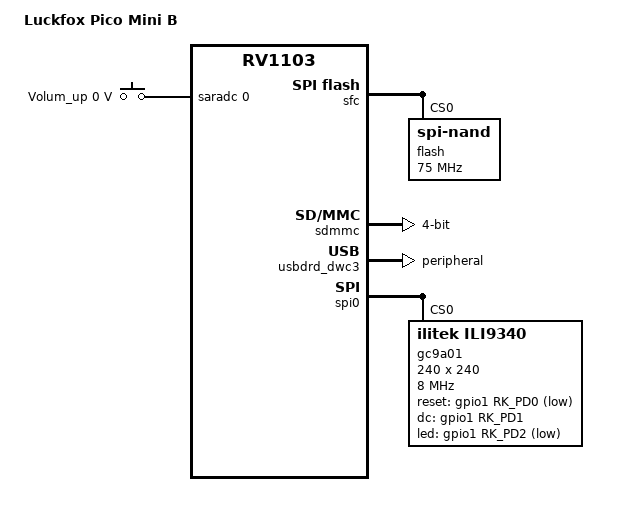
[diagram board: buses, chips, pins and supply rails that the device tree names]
// SPDX-License-Identifier: (GPL-2.0+ OR MIT)
/*
 * Copyright (c) 2023 Luckfox Electronics Co., Ltd.
 */

/dts-v1/;

#include "rv1103.dtsi"
#include "rv1106-evb.dtsi"
#include "rv1103-luckfox-pico-ipc.dtsi"

/ {
	model = "Luckfox Pico Mini B";
	compatible = "rockchip,rv1103g-38x38-ipc-v10", "rockchip,rv1103";

	adc-keys {
		compatible = "adc-keys";
		io-channels = <&saradc 0>;
		io-channel-names = "buttons";
		poll-interval = <100>;
		keyup-threshold-microvolt = <1800000>;

		recovery {
			label = "Volum_up";
			linux,code = <KEY_VOLUMEUP>;
			press-threshold-microvolt = <0>;
		};
	};
};

/**********SFC**********/
&sfc {
	status = "okay";
	flash@0 {
		compatible = "spi-nand";
		reg = <0>;
		spi-max-frequency = <75000000>;
		spi-rx-bus-width = <4>;
		spi-tx-bus-width = <1>;
	};
};

/**********SDMMC**********/
&sdmmc {
	max-frequency = <50000000>;
	no-sdio;
	no-mmc;
	bus-width = <4>;
	cap-mmc-highspeed;
	cap-sd-highspeed;
	disable-wp;
	pinctrl-names = "default";
	pinctrl-0 = <&sdmmc0_clk &sdmmc0_cmd &sdmmc0_det &sdmmc0_bus4>;
	status = "okay";
};

/**********ETH**********/
&gmac {
	status = "disabled";
};

/**********USB**********/
&usbdrd_dwc3 {
	status = "okay";
	dr_mode = "peripheral";
};

&pinctrl {
	lcd {
		gc9a01_pins: gc9a01-pins {
			rockchip,pins =
				/* lcd_reset */
				<1 RK_PD0 1 &pcfg_pull_none_drv_level_3>,
				/* lcd_dc */
				<1 RK_PD1 1 &pcfg_pull_none_drv_level_3>,
				/* lcd_led */
				<1 RK_PD2 1 &pcfg_pull_none_drv_level_3>;
		};
	};
};

/**********SPI**********/
/* SPI0_M0 */
&spi0 {
	status = "okay";

	spidev@0 {
		status = "disabled";
		spi-max-frequency = <50000000>;
	};

	fbtft@0 {
		status = "disabled";
	};

  	gc9a01@0 {
		compatible = "ilitek,ili9340";
		reg = <0>;
		pinctrl-names = "default";
		pinctrl-0 = <&gc9a01_pins>;
		reset = <&gpio1 RK_PD0 GPIO_ACTIVE_LOW>;
		dc = <&gpio1 RK_PD1 GPIO_ACTIVE_HIGH>;
		led-gpios = <&gpio1 RK_PD2 GPIO_ACTIVE_LOW>;
		spi-max-frequency = <8000000>;
		buswidth = <8>;
		width = <240>;
		height = <240>;
		rotate = <0>;
		fps = <50>;
		bgr;
		debug = <0>;
		init = <
			0x01000011 /* Sleep mode OFF */
			0x02000078 /* Delay 120ms */
			0x010000EF /* Inter register enable 2 */
			0x010000EB 0x14
			/* BEGIN set inter_command HIGH */
			0x010000FE /* Inter register enable 1 */
			0x010000EF /* Inter register enable 2 */
			/* END set inter_command HIGH */
			0x010000EB 0x14
			0x01000084 0x40
			0x01000085 0xFF
			0x01000086 0xFF
			0x01000087 0xFF
			0x01000088 0x0A
			0x01000089 0x21
			0x0100008A 0x00
			0x0100008B 0x80
			0x0100008C 0x01
			0x0100008D 0x01
			0x0100008E 0xFF
			0x0100008F 0xFF
			0x010000B6 0x00 0x00 /* Display function control */
			0x01000036 0x08 /* Memory access control */
			0x0100003A 0x05 /* Pixel format */
			0x01000090 0x08 0x08 0x08 0x08
			0x010000BD 0x06
			0x010000BC 0x00
			0x010000FF 0x60 0x01 0x04
			0x010000C3 0x13 /* Voltage regulator 1a */
			0x010000C4 0x13 /* Voltage regulator 1b */
			0x010000C9 0x22 /* Voltage regulator 2a */
			0x010000BE 0x11
			0x010000E1 0x10 0x0E
			0x010000DF 0x21 0x0c 0x02
			0x010000F0 0x45 0x09 0x08 0x08 0x26 0x2A /* Set gamma1 */
			0x010000F1 0x43 0x70 0x72 0x36 0x37 0x6F /* Set gamma2 */
			0x010000F2 0x45 0x09 0x08 0x08 0x26 0x2A /* Set gamma3 */
			0x010000F3 0x43 0x70 0x72 0x36 0x37 0x6F /* Set gamma4 */
			0x010000ED 0x1B 0x0B
			0x010000AE 0x77
			0x010000CD 0x63
			0x01000070 0x07 0x07 0x04 0x0E 0x0F 0x09 0x07 0x08 0x03
			0x010000E8 0x34 /* Frame rate */
			0x01000062 0x18 0x0D 0x71 0xED 0x70 0x70 0x18 0x0F 0x71 0xEF 0x70 0x70
			0x01000063 0x18 0x11 0x71 0xF1 0x70 0x70 0x18 0x13 0x71 0xF3 0x70 0x70
			0x01000064 0x28 0x29 0xF1 0x01 0xF1 0x00 0x07
			0x01000066 0x3C 0x00 0xCD 0x67 0x45 0x45 0x10 0x00 0x00 0x00
			0x01000067 0x00 0x3C 0x00 0x00 0x00 0x01 0x54 0x10 0x32 0x98
			0x01000074 0x10 0x85 0x80 0x00 0x00 0x4E 0x00
			0x01000098 0x3e 0x07
			0x01000035 /* Tearing effect ON */
			0x01000021 /* Display inversion ON */
			0x01000011 /* Sleep mode OFF */
			0x0200000C /* Delay 12ms */
			0x01000029 /* Display ON */
			0x02000014 /* Delay 20ms */
		>;
  	};
};

/**********I2C**********/
/* I2C3_M1 */
&i2c3 {
	status = "disabled";
	clock-frequency = <100000>;
};

/**********UART**********/
/* UART3_M1 */
&uart3 {
	status = "disabled";
};

/* UART4_M1 */
&uart4 {
	status = "disabled";
};

/**********PWM**********/
/* PWM1_M0 */
&pwm1 {
	status = "disabled";
};
